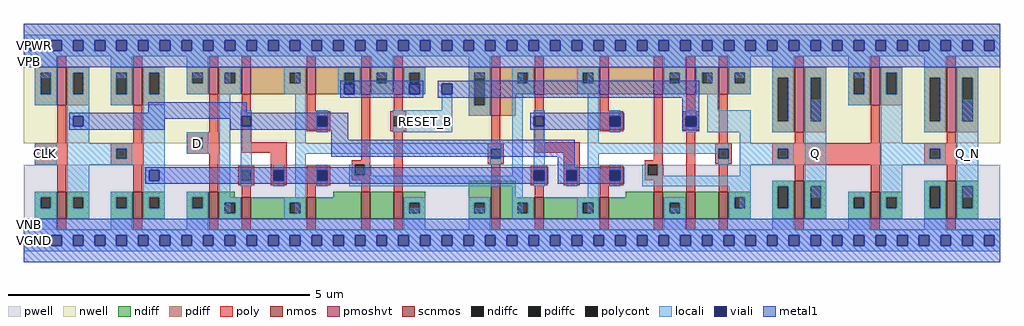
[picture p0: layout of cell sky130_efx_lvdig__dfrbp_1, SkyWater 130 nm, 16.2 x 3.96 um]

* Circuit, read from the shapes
.subckt sky130_efx_lvdig__dfrbp_1 CLK D RESET_B Q Q_N VGND VPWR VPB VNB
XM1 n1 CLK VGND VNB sky130_fd_pr__nfet_01v8 w=0.45 l=0.15
XM2 n2 n1 VGND VNB sky130_fd_pr__nfet_01v8 w=0.45 l=0.15
XM3 n3 D VGND VNB sky130_fd_pr__nfet_01v8 w=0.45 l=0.15
XM4 n4 n1 n3 VNB sky130_fd_pr__nfet_01v8 w=0.36 l=0.15
XM5 n5 n2 n4 VNB sky130_fd_pr__nfet_01v8 w=0.36 l=0.15
XM6 n6 n7 n5 VNB sky130_fd_pr__nfet_01v8 w=0.45 l=0.15
XM7 VGND RESET_B n6 VNB sky130_fd_pr__nfet_01v8 w=0.45 l=0.15
XM8 n7 n4 VGND VNB sky130_fd_pr__nfet_01v8 w=0.63 l=0.15
XM9 n8 n2 n7 VNB sky130_fd_pr__nfet_01v8 w=0.36 l=0.15
XM10 n9 n1 n8 VNB sky130_fd_pr__nfet_01v8 w=0.36 l=0.15
XM11 VGND n10 n9 VNB sky130_fd_pr__nfet_01v8 w=0.45 l=0.15
XM12 n11 RESET_B VGND VNB sky130_fd_pr__nfet_01v8 w=0.45 l=0.15
XM13 n10 n8 n11 VNB sky130_fd_pr__nfet_01v8 w=0.45 l=0.15
XM14 Q n10 VGND VNB sky130_fd_pr__nfet_01v8 w=0.63 l=0.15
XM15 n12 n10 VGND VNB sky130_fd_pr__nfet_01v8 w=0.45 l=0.15
XM16 Q_N n12 VGND VNB sky130_fd_pr__nfet_01v8 w=0.63 l=0.15
XM17 n1 CLK VPWR VPB sky130_fd_pr__pfet_01v8_hvt w=0.63 l=0.15
XM18 n2 n1 VPWR VPB sky130_fd_pr__pfet_01v8_hvt w=0.63 l=0.15
XM19 n3 D VPWR VPB sky130_fd_pr__pfet_01v8_hvt w=0.45 l=0.15
XM20 n4 n2 n3 VPB sky130_fd_pr__pfet_01v8_hvt w=0.45 l=0.15
XM21 n13 n1 n4 VPB sky130_fd_pr__pfet_01v8_hvt w=0.45 l=0.15
XM22 VPWR n7 n13 VPB sky130_fd_pr__pfet_01v8_hvt w=0.45 l=0.15
XM23 n13 RESET_B VPWR VPB sky130_fd_pr__pfet_01v8_hvt w=0.45 l=0.15
XM24 n7 n4 VPWR VPB sky130_fd_pr__pfet_01v8_hvt w=0.81 l=0.15
XM25 n8 n1 n7 VPB sky130_fd_pr__pfet_01v8_hvt w=0.45 l=0.15
XM26 n14 n2 n8 VPB sky130_fd_pr__pfet_01v8_hvt w=0.45 l=0.15
XM27 VPWR n10 n14 VPB sky130_fd_pr__pfet_01v8_hvt w=0.45 l=0.15
XM28 n10 RESET_B VPWR VPB sky130_fd_pr__pfet_01v8_hvt w=0.45 l=0.15
XM29 VPWR n8 n10 VPB sky130_fd_pr__pfet_01v8_hvt w=0.45 l=0.15
XM30 Q n10 VPWR VPB sky130_fd_pr__pfet_01v8_hvt w=1.08 l=0.15
XM31 n12 n10 VPWR VPB sky130_fd_pr__pfet_01v8_hvt w=0.63 l=0.15
XM32 Q_N n12 VPWR VPB sky130_fd_pr__pfet_01v8_hvt w=1.08 l=0.15
.ends

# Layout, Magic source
magic
tech sky130A
magscale 1 2
<< nwell >>
rect 0 288 3240 684
<< pwell >>
rect 0 0 3240 216
<< poly >>
rect 615 324 645 450
rect 540 305 648 324
rect 36 269 144 288
rect 36 235 55 269
rect 89 235 144 269
rect 36 216 144 235
rect 288 269 396 288
rect 288 235 307 269
rect 341 235 396 269
rect 540 271 559 305
rect 593 271 648 305
rect 540 252 648 271
rect 723 291 753 450
rect 939 393 969 450
rect 939 377 1017 393
rect 939 343 973 377
rect 1007 343 1017 377
rect 939 327 1017 343
rect 723 255 873 291
rect 288 216 396 235
rect 615 126 645 252
rect 711 197 765 213
rect 711 163 721 197
rect 755 163 765 197
rect 711 147 765 163
rect 819 197 873 255
rect 1119 231 1149 450
rect 1227 393 1257 450
rect 1215 377 1269 393
rect 1215 343 1225 377
rect 1259 343 1269 377
rect 1215 327 1269 343
rect 1088 215 1149 231
rect 819 163 829 197
rect 863 163 873 197
rect 819 147 873 163
rect 939 197 1017 213
rect 939 163 973 197
rect 1007 163 1017 197
rect 1088 181 1098 215
rect 1132 181 1149 215
rect 1088 165 1149 181
rect 939 147 1017 163
rect 723 108 753 147
rect 939 108 969 147
rect 1119 126 1149 165
rect 1227 126 1257 327
rect 1551 285 1581 378
rect 1695 291 1725 450
rect 1911 393 1941 450
rect 1911 377 1989 393
rect 1911 343 1945 377
rect 1979 343 1989 377
rect 1911 327 1989 343
rect 1539 269 1593 285
rect 1539 235 1549 269
rect 1583 235 1593 269
rect 1695 255 1845 291
rect 1539 219 1593 235
rect 1551 162 1581 219
rect 1683 197 1737 213
rect 1683 163 1693 197
rect 1727 163 1737 197
rect 1683 147 1737 163
rect 1791 197 1845 255
rect 2091 231 2121 450
rect 2199 393 2229 450
rect 2187 377 2241 393
rect 2187 343 2197 377
rect 2231 343 2241 377
rect 2187 327 2241 343
rect 2060 215 2121 231
rect 1791 163 1801 197
rect 1835 163 1845 197
rect 1791 147 1845 163
rect 1911 197 1989 213
rect 1911 163 1945 197
rect 1979 163 1989 197
rect 2060 181 2070 215
rect 2104 181 2121 215
rect 2060 165 2121 181
rect 1911 147 1989 163
rect 1695 108 1725 147
rect 1911 108 1941 147
rect 2091 126 2121 165
rect 2199 126 2229 327
rect 2307 285 2337 450
rect 2295 269 2349 285
rect 2295 235 2305 269
rect 2339 235 2349 269
rect 2295 219 2349 235
rect 2484 269 2844 288
rect 2484 235 2503 269
rect 2537 235 2844 269
rect 2307 126 2337 219
rect 2484 216 2844 235
rect 2988 269 3096 288
rect 2988 235 3007 269
rect 3041 235 3096 269
rect 2988 216 3096 235
<< polycont >>
rect 55 235 89 269
rect 307 235 341 269
rect 559 271 593 305
rect 973 343 1007 377
rect 721 163 755 197
rect 1225 343 1259 377
rect 829 163 863 197
rect 973 163 1007 197
rect 1098 181 1132 215
rect 1945 343 1979 377
rect 1549 235 1583 269
rect 1693 163 1727 197
rect 2197 343 2231 377
rect 1801 163 1835 197
rect 1945 163 1979 197
rect 2070 181 2104 215
rect 2305 235 2339 269
rect 2503 235 2537 269
rect 3007 235 3041 269
<< locali >>
rect 0 629 3240 648
rect 0 595 19 629
rect 53 595 91 629
rect 125 595 163 629
rect 197 595 235 629
rect 269 595 307 629
rect 341 595 379 629
rect 413 595 451 629
rect 485 595 523 629
rect 557 595 595 629
rect 629 595 667 629
rect 701 595 739 629
rect 773 595 811 629
rect 845 595 883 629
rect 917 595 955 629
rect 989 595 1027 629
rect 1061 595 1099 629
rect 1133 595 1171 629
rect 1205 595 1243 629
rect 1277 595 1315 629
rect 1349 595 1387 629
rect 1421 595 1459 629
rect 1493 595 1531 629
rect 1565 595 1603 629
rect 1637 595 1675 629
rect 1709 595 1747 629
rect 1781 595 1819 629
rect 1853 595 1891 629
rect 1925 595 1963 629
rect 1997 595 2035 629
rect 2069 595 2107 629
rect 2141 595 2179 629
rect 2213 595 2251 629
rect 2285 595 2323 629
rect 2357 595 2395 629
rect 2429 595 2467 629
rect 2501 595 2539 629
rect 2573 595 2611 629
rect 2645 595 2683 629
rect 2717 595 2755 629
rect 2789 595 2827 629
rect 2861 595 2899 629
rect 2933 595 2971 629
rect 3005 595 3043 629
rect 3077 595 3115 629
rect 3149 595 3187 629
rect 3221 595 3240 629
rect 0 576 3240 595
rect 36 504 108 576
rect 288 504 360 576
rect 540 504 612 576
rect 144 377 216 432
rect 144 343 163 377
rect 197 343 216 377
rect 144 288 216 343
rect 36 269 108 288
rect 36 235 55 269
rect 89 235 108 269
rect 36 216 108 235
rect 144 269 360 288
rect 144 235 307 269
rect 341 235 360 269
rect 144 216 360 235
rect 144 108 216 216
rect 396 197 468 432
rect 540 305 612 324
rect 540 271 559 305
rect 593 271 612 305
rect 540 252 612 271
rect 396 163 415 197
rect 449 163 468 197
rect 396 108 468 163
rect 36 0 108 72
rect 288 0 360 72
rect 540 0 612 72
rect 648 36 684 540
rect 720 377 756 396
rect 720 343 721 377
rect 755 343 756 377
rect 720 197 756 343
rect 900 288 936 540
rect 1152 504 1224 576
rect 1476 504 1548 576
rect 1386 450 1387 484
rect 1421 450 1422 484
rect 1386 396 1422 450
rect 972 377 1008 396
rect 972 343 973 377
rect 1007 343 1008 377
rect 972 324 1008 343
rect 1224 377 1422 396
rect 1224 343 1225 377
rect 1259 343 1422 377
rect 1224 324 1422 343
rect 900 269 1584 288
rect 900 252 1549 269
rect 720 163 721 197
rect 755 163 756 197
rect 720 144 756 163
rect 828 197 864 216
rect 828 163 829 197
rect 863 163 864 197
rect 828 144 864 163
rect 900 36 936 252
rect 1548 235 1549 252
rect 1583 235 1584 269
rect 1548 216 1584 235
rect 972 197 1008 216
rect 972 163 973 197
rect 1007 163 1008 197
rect 972 144 1008 163
rect 1080 215 1152 216
rect 1080 181 1098 215
rect 1132 181 1152 215
rect 1080 180 1152 181
rect 1620 180 1656 540
rect 1080 144 1656 180
rect 1692 377 1728 396
rect 1692 343 1693 377
rect 1727 343 1728 377
rect 1692 197 1728 343
rect 1872 288 1908 540
rect 2124 504 2196 576
rect 2268 396 2304 540
rect 2340 504 2412 576
rect 2484 504 2556 576
rect 2736 504 2808 576
rect 2988 504 3060 576
rect 1944 377 1980 396
rect 1944 343 1945 377
rect 1979 343 1980 377
rect 1944 324 1980 343
rect 2196 377 2232 396
rect 2196 343 2197 377
rect 2231 343 2232 377
rect 2196 324 2232 343
rect 2268 324 2412 396
rect 2376 288 2412 324
rect 1872 269 2340 288
rect 1872 252 2305 269
rect 1692 163 1693 197
rect 1727 163 1728 197
rect 1692 144 1728 163
rect 1800 197 1836 216
rect 1800 163 1801 197
rect 1835 163 1836 197
rect 1800 144 1836 163
rect 1260 0 1332 72
rect 1476 0 1548 72
rect 1620 36 1656 144
rect 1872 36 1908 252
rect 2304 235 2305 252
rect 2339 235 2340 269
rect 2304 216 2340 235
rect 2376 269 2556 288
rect 2376 235 2503 269
rect 2537 235 2556 269
rect 2376 216 2556 235
rect 1944 197 1980 216
rect 1944 163 1945 197
rect 1979 163 1980 197
rect 1944 144 1980 163
rect 2052 215 2124 216
rect 2052 181 2070 215
rect 2104 181 2124 215
rect 2052 180 2124 181
rect 2376 180 2412 216
rect 2052 144 2412 180
rect 2340 108 2412 144
rect 2592 108 2664 432
rect 2844 288 2916 432
rect 2844 269 3060 288
rect 2844 235 3007 269
rect 3041 235 3060 269
rect 2844 216 3060 235
rect 2844 108 2916 216
rect 3096 108 3168 432
rect 2124 0 2196 72
rect 2376 36 2412 108
rect 2484 0 2556 72
rect 2736 0 2808 72
rect 2988 0 3060 72
rect 0 -19 3240 0
rect 0 -53 19 -19
rect 53 -53 91 -19
rect 125 -53 163 -19
rect 197 -53 235 -19
rect 269 -53 307 -19
rect 341 -53 379 -19
rect 413 -53 451 -19
rect 485 -53 523 -19
rect 557 -53 595 -19
rect 629 -53 667 -19
rect 701 -53 739 -19
rect 773 -53 811 -19
rect 845 -53 883 -19
rect 917 -53 955 -19
rect 989 -53 1027 -19
rect 1061 -53 1099 -19
rect 1133 -53 1171 -19
rect 1205 -53 1243 -19
rect 1277 -53 1315 -19
rect 1349 -53 1387 -19
rect 1421 -53 1459 -19
rect 1493 -53 1531 -19
rect 1565 -53 1603 -19
rect 1637 -53 1675 -19
rect 1709 -53 1747 -19
rect 1781 -53 1819 -19
rect 1853 -53 1891 -19
rect 1925 -53 1963 -19
rect 1997 -53 2035 -19
rect 2069 -53 2107 -19
rect 2141 -53 2179 -19
rect 2213 -53 2251 -19
rect 2285 -53 2323 -19
rect 2357 -53 2395 -19
rect 2429 -53 2467 -19
rect 2501 -53 2539 -19
rect 2573 -53 2611 -19
rect 2645 -53 2683 -19
rect 2717 -53 2755 -19
rect 2789 -53 2827 -19
rect 2861 -53 2899 -19
rect 2933 -53 2971 -19
rect 3005 -53 3043 -19
rect 3077 -53 3115 -19
rect 3149 -53 3187 -19
rect 3221 -53 3240 -19
rect 0 -72 3240 -53
<< viali >>
rect 19 595 53 629
rect 91 595 125 629
rect 163 595 197 629
rect 235 595 269 629
rect 307 595 341 629
rect 379 595 413 629
rect 451 595 485 629
rect 523 595 557 629
rect 595 595 629 629
rect 667 595 701 629
rect 739 595 773 629
rect 811 595 845 629
rect 883 595 917 629
rect 955 595 989 629
rect 1027 595 1061 629
rect 1099 595 1133 629
rect 1171 595 1205 629
rect 1243 595 1277 629
rect 1315 595 1349 629
rect 1387 595 1421 629
rect 1459 595 1493 629
rect 1531 595 1565 629
rect 1603 595 1637 629
rect 1675 595 1709 629
rect 1747 595 1781 629
rect 1819 595 1853 629
rect 1891 595 1925 629
rect 1963 595 1997 629
rect 2035 595 2069 629
rect 2107 595 2141 629
rect 2179 595 2213 629
rect 2251 595 2285 629
rect 2323 595 2357 629
rect 2395 595 2429 629
rect 2467 595 2501 629
rect 2539 595 2573 629
rect 2611 595 2645 629
rect 2683 595 2717 629
rect 2755 595 2789 629
rect 2827 595 2861 629
rect 2899 595 2933 629
rect 2971 595 3005 629
rect 3043 595 3077 629
rect 3115 595 3149 629
rect 3187 595 3221 629
rect 163 343 197 377
rect 415 163 449 197
rect 721 343 755 377
rect 1063 450 1097 484
rect 1279 450 1313 484
rect 1387 450 1421 484
rect 973 343 1007 377
rect 829 163 863 197
rect 973 163 1007 197
rect 1693 343 1727 377
rect 1945 343 1979 377
rect 2197 343 2231 377
rect 1693 163 1727 197
rect 1801 163 1835 197
rect 1945 163 1979 197
rect 19 -53 53 -19
rect 91 -53 125 -19
rect 163 -53 197 -19
rect 235 -53 269 -19
rect 307 -53 341 -19
rect 379 -53 413 -19
rect 451 -53 485 -19
rect 523 -53 557 -19
rect 595 -53 629 -19
rect 667 -53 701 -19
rect 739 -53 773 -19
rect 811 -53 845 -19
rect 883 -53 917 -19
rect 955 -53 989 -19
rect 1027 -53 1061 -19
rect 1099 -53 1133 -19
rect 1171 -53 1205 -19
rect 1243 -53 1277 -19
rect 1315 -53 1349 -19
rect 1387 -53 1421 -19
rect 1459 -53 1493 -19
rect 1531 -53 1565 -19
rect 1603 -53 1637 -19
rect 1675 -53 1709 -19
rect 1747 -53 1781 -19
rect 1819 -53 1853 -19
rect 1891 -53 1925 -19
rect 1963 -53 1997 -19
rect 2035 -53 2069 -19
rect 2107 -53 2141 -19
rect 2179 -53 2213 -19
rect 2251 -53 2285 -19
rect 2323 -53 2357 -19
rect 2395 -53 2429 -19
rect 2467 -53 2501 -19
rect 2539 -53 2573 -19
rect 2611 -53 2645 -19
rect 2683 -53 2717 -19
rect 2755 -53 2789 -19
rect 2827 -53 2861 -19
rect 2899 -53 2933 -19
rect 2971 -53 3005 -19
rect 3043 -53 3077 -19
rect 3115 -53 3149 -19
rect 3187 -53 3221 -19
<< metal1 >>
rect 0 629 3240 684
rect 0 595 19 629
rect 53 595 91 629
rect 125 595 163 629
rect 197 595 235 629
rect 269 595 307 629
rect 341 595 379 629
rect 413 595 451 629
rect 485 595 523 629
rect 557 595 595 629
rect 629 595 667 629
rect 701 595 739 629
rect 773 595 811 629
rect 845 595 883 629
rect 917 595 955 629
rect 989 595 1027 629
rect 1061 595 1099 629
rect 1133 595 1171 629
rect 1205 595 1243 629
rect 1277 595 1315 629
rect 1349 595 1387 629
rect 1421 595 1459 629
rect 1493 595 1531 629
rect 1565 595 1603 629
rect 1637 595 1675 629
rect 1709 595 1747 629
rect 1781 595 1819 629
rect 1853 595 1891 629
rect 1925 595 1963 629
rect 1997 595 2035 629
rect 2069 595 2107 629
rect 2141 595 2179 629
rect 2213 595 2251 629
rect 2285 595 2323 629
rect 2357 595 2395 629
rect 2429 595 2467 629
rect 2501 595 2539 629
rect 2573 595 2611 629
rect 2645 595 2683 629
rect 2717 595 2755 629
rect 2789 595 2827 629
rect 2861 595 2899 629
rect 2933 595 2971 629
rect 3005 595 3043 629
rect 3077 595 3115 629
rect 3149 595 3187 629
rect 3221 595 3240 629
rect 0 540 3240 595
rect 1050 484 1326 495
rect 1050 450 1063 484
rect 1097 450 1279 484
rect 1313 450 1326 484
rect 1050 439 1326 450
rect 1374 484 2242 495
rect 1374 450 1387 484
rect 1421 450 2242 484
rect 1374 439 2242 450
rect 412 388 740 424
rect 150 377 1076 388
rect 150 343 163 377
rect 197 368 721 377
rect 197 343 468 368
rect 150 332 468 343
rect 684 343 721 368
rect 755 343 973 377
rect 1007 343 1076 377
rect 684 332 1076 343
rect 1680 377 1992 388
rect 1680 343 1693 377
rect 1727 343 1945 377
rect 1979 343 1992 377
rect 1680 332 1992 343
rect 2186 377 2242 439
rect 2186 343 2197 377
rect 2231 343 2242 377
rect 1020 298 1076 332
rect 2186 330 2242 343
rect 1020 242 1828 298
rect 1772 208 1828 242
rect 402 197 1740 208
rect 402 163 415 197
rect 449 163 829 197
rect 863 163 973 197
rect 1007 163 1693 197
rect 1727 163 1740 197
rect 402 152 1740 163
rect 1772 197 1992 208
rect 1772 163 1801 197
rect 1835 163 1945 197
rect 1979 163 1992 197
rect 1772 152 1992 163
rect 0 -19 3240 36
rect 0 -53 19 -19
rect 53 -53 91 -19
rect 125 -53 163 -19
rect 197 -53 235 -19
rect 269 -53 307 -19
rect 341 -53 379 -19
rect 413 -53 451 -19
rect 485 -53 523 -19
rect 557 -53 595 -19
rect 629 -53 667 -19
rect 701 -53 739 -19
rect 773 -53 811 -19
rect 845 -53 883 -19
rect 917 -53 955 -19
rect 989 -53 1027 -19
rect 1061 -53 1099 -19
rect 1133 -53 1171 -19
rect 1205 -53 1243 -19
rect 1277 -53 1315 -19
rect 1349 -53 1387 -19
rect 1421 -53 1459 -19
rect 1493 -53 1531 -19
rect 1565 -53 1603 -19
rect 1637 -53 1675 -19
rect 1709 -53 1747 -19
rect 1781 -53 1819 -19
rect 1853 -53 1891 -19
rect 1925 -53 1963 -19
rect 1997 -53 2035 -19
rect 2069 -53 2107 -19
rect 2141 -53 2179 -19
rect 2213 -53 2251 -19
rect 2285 -53 2323 -19
rect 2357 -53 2395 -19
rect 2429 -53 2467 -19
rect 2501 -53 2539 -19
rect 2573 -53 2611 -19
rect 2645 -53 2683 -19
rect 2717 -53 2755 -19
rect 2789 -53 2827 -19
rect 2861 -53 2899 -19
rect 2933 -53 2971 -19
rect 3005 -53 3043 -19
rect 3077 -53 3115 -19
rect 3149 -53 3187 -19
rect 3221 -53 3240 -19
rect 0 -108 3240 -53
use nmos_isl_dfrtp_m  nmos_isl_dfrtp_m_0
transform 1 0 0 0 1 0
box 504 0 1368 216
use pmos_isl_dfrtp_m  pmos_isl_dfrtp_m_0
transform 1 0 0 0 1 0
box 504 288 1368 684
use nmos_isl_dfrtp_s  nmos_isl_dfrtp_s_0
transform 1 0 0 0 1 0
box 1440 0 2448 216
use pmos_isl_dfrtp_s  pmos_isl_dfrtp_s_0
transform 1 0 0 0 1 0
box 1440 288 2448 684
use nmos_n2f5_f1_l150_ff  nmos_n2f5_f1_l150_ff_0
transform 1 0 72 0 1 36
box -72 -36 180 180
use nmos_n2f5_f1_l150_ff  nmos_n2f5_f1_l150_ff_1
transform 1 0 324 0 1 36
box -72 -36 180 180
use nmos_n2f5_f1_l150_ff  nmos_n2f5_f1_l150_ff_2
transform 1 0 2772 0 1 36
box -72 -36 180 180
use nmos_n3f5_f1_l150  nmos_n3f5_f1_l150_0
transform 1 0 2520 0 1 36
box -72 -36 180 180
use nmos_n3f5_f1_l150  nmos_n3f5_f1_l150_1
transform 1 0 3024 0 1 36
box -72 -36 180 180
use pmos_n3f5_f1_l150_hvt_ff  pmos_n3f5_f1_l150_hvt_ff_0
transform 1 0 72 0 1 414
box -72 -126 180 162
use pmos_n3f5_f1_l150_hvt_ff  pmos_n3f5_f1_l150_hvt_ff_1
transform 1 0 324 0 1 414
box -72 -126 180 162
use pmos_n3f5_f1_l150_hvt_ff  pmos_n3f5_f1_l150_hvt_ff_2
transform 1 0 2772 0 1 414
box -72 -126 180 162
use pmos_n6_f1_l150_hvt  pmos_n6_f1_l150_hvt_0
transform 1 0 2520 0 1 324
box -72 -36 180 252
use pmos_n6_f1_l150_hvt  pmos_n6_f1_l150_hvt_1
transform 1 0 3024 0 1 324
box -72 -36 180 252
<< labels >>
flabel locali 36 216 108 288 0 FreeSans 288 0 0 0 CLK
port 1 nsew signal input
flabel locali 540 252 612 324 0 FreeSans 288 0 0 0 D
port 2 nsew signal input
flabel locali 1296 324 1368 396 0 FreeSans 288 0 0 0 RESET_B
port 3 nsew signal input
flabel locali 2592 216 2664 288 0 FreeSans 288 0 0 0 Q
port 4 nsew signal output
flabel locali 3096 216 3168 288 0 FreeSans 288 0 0 0 Q_N
port 5 nsew signal output
flabel metal1 0 -72 72 0 0 FreeSans 288 0 0 0 VGND
port 6 nsew ground bidirectional
flabel metal1 0 576 72 648 0 FreeSans 288 0 0 0 VPWR
port 7 nsew power bidirectional
flabel nwell 0 540 36 576 0 FreeSans 288 0 0 0 VPB
port 8 nsew power bidirectional
flabel pwell 0 0 36 36 0 FreeSans 288 0 0 0 VNB
port 9 nsew ground bidirectional
<< properties >>
string FIXED_BBOX 0 -36 3240 612
<< end >>

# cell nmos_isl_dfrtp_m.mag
magic
tech sky130A
magscale 1 2
<< pwell >>
rect 504 0 1368 216
<< nmos >>
rect 615 36 645 126
rect 1119 36 1149 126
rect 1227 36 1257 126
<< scnmos >>
rect 723 36 753 108
rect 939 36 969 108
<< ndiff >>
rect 540 108 615 126
rect 540 72 559 108
rect 593 72 615 108
rect 540 36 615 72
rect 645 108 700 126
rect 1026 108 1119 126
rect 645 89 723 108
rect 645 55 667 89
rect 701 55 723 89
rect 645 36 723 55
rect 753 89 939 108
rect 753 55 883 89
rect 917 55 939 89
rect 753 36 939 55
rect 969 36 1119 108
rect 1149 36 1227 126
rect 1257 89 1332 126
rect 1257 55 1279 89
rect 1313 55 1332 89
rect 1257 36 1332 55
<< ndiffc >>
rect 559 72 593 108
rect 667 55 701 89
rect 883 55 917 89
rect 1279 55 1313 89
<< poly >>
rect 615 126 645 162
rect 723 108 753 144
rect 939 108 969 144
rect 1119 126 1149 162
rect 1227 126 1257 162
rect 615 0 645 36
rect 723 0 753 36
rect 939 0 969 36
rect 1119 0 1149 36
rect 1227 0 1257 36
<< locali >>
rect 540 108 612 126
rect 540 72 559 108
rect 593 72 612 108
rect 540 36 612 72
rect 648 89 720 108
rect 648 55 667 89
rect 701 55 720 89
rect 648 36 720 55
rect 864 89 936 108
rect 864 55 883 89
rect 917 55 936 89
rect 864 36 936 55
rect 1260 89 1332 108
rect 1260 55 1279 89
rect 1313 55 1332 89
rect 1260 36 1332 55
<< end >>

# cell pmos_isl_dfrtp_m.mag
magic
tech sky130A
magscale 1 2
<< nwell >>
rect 504 288 1368 684
<< pmoshvt >>
rect 615 450 645 540
rect 723 450 753 540
rect 939 450 969 540
rect 1119 450 1149 540
rect 1227 450 1257 540
<< pdiff >>
rect 540 522 615 540
rect 540 486 559 522
rect 593 486 615 522
rect 540 450 615 486
rect 645 522 723 540
rect 645 486 667 522
rect 701 486 723 522
rect 645 450 723 486
rect 753 522 939 540
rect 753 486 883 522
rect 917 486 939 522
rect 753 450 939 486
rect 969 522 1119 540
rect 969 486 1063 522
rect 1097 486 1119 522
rect 969 450 1119 486
rect 1149 522 1227 540
rect 1149 486 1171 522
rect 1205 486 1227 522
rect 1149 450 1227 486
rect 1257 522 1332 540
rect 1257 486 1279 522
rect 1313 486 1332 522
rect 1257 450 1332 486
<< pdiffc >>
rect 559 486 593 522
rect 667 486 701 522
rect 883 486 917 522
rect 1063 486 1097 522
rect 1171 486 1205 522
rect 1279 486 1313 522
<< poly >>
rect 615 540 645 576
rect 723 540 753 576
rect 939 540 969 576
rect 1119 540 1149 576
rect 1227 540 1257 576
rect 615 414 645 450
rect 723 414 753 450
rect 939 414 969 450
rect 1119 414 1149 450
rect 1227 414 1257 450
<< locali >>
rect 540 522 612 540
rect 540 486 559 522
rect 593 486 612 522
rect 540 450 612 486
rect 648 522 720 540
rect 648 486 667 522
rect 701 486 720 522
rect 648 450 720 486
rect 864 522 936 540
rect 864 486 883 522
rect 917 486 936 522
rect 864 450 936 486
rect 1044 522 1116 540
rect 1044 486 1063 522
rect 1097 486 1116 522
rect 1044 450 1116 486
rect 1152 522 1224 540
rect 1152 486 1171 522
rect 1205 486 1224 522
rect 1152 450 1224 486
rect 1260 522 1332 540
rect 1260 486 1279 522
rect 1313 486 1332 522
rect 1260 450 1332 486
<< end >>

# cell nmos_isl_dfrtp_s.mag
magic
tech sky130A
magscale 1 2
<< pwell >>
rect 1440 0 2448 216
<< nmos >>
rect 1551 36 1581 162
rect 2091 36 2121 126
rect 2199 36 2229 126
rect 2307 36 2337 126
<< scnmos >>
rect 1695 36 1725 108
rect 1911 36 1941 108
<< ndiff >>
rect 1476 89 1551 162
rect 1476 55 1495 89
rect 1529 55 1551 89
rect 1476 36 1551 55
rect 1581 108 1632 162
rect 1998 108 2091 126
rect 1581 89 1695 108
rect 1581 55 1639 89
rect 1673 55 1695 89
rect 1581 36 1695 55
rect 1725 89 1911 108
rect 1725 55 1855 89
rect 1889 55 1911 89
rect 1725 36 1911 55
rect 1941 36 2091 108
rect 2121 89 2199 126
rect 2121 55 2143 89
rect 2177 55 2199 89
rect 2121 36 2199 55
rect 2229 36 2307 126
rect 2337 108 2412 126
rect 2337 72 2359 108
rect 2393 72 2412 108
rect 2337 36 2412 72
<< ndiffc >>
rect 1495 55 1529 89
rect 1639 55 1673 89
rect 1855 55 1889 89
rect 2143 55 2177 89
rect 2359 72 2393 108
<< poly >>
rect 1551 162 1581 198
rect 1695 108 1725 144
rect 1911 108 1941 144
rect 2091 126 2121 162
rect 2199 126 2229 162
rect 2307 126 2337 162
rect 1551 0 1581 36
rect 1695 0 1725 36
rect 1911 0 1941 36
rect 2091 0 2121 36
rect 2199 0 2229 36
rect 2307 0 2337 36
<< locali >>
rect 2340 108 2412 126
rect 1476 89 1548 108
rect 1476 55 1495 89
rect 1529 55 1548 89
rect 1476 36 1548 55
rect 1620 89 1692 108
rect 1620 55 1639 89
rect 1673 55 1692 89
rect 1620 36 1692 55
rect 1836 89 1908 108
rect 1836 55 1855 89
rect 1889 55 1908 89
rect 1836 36 1908 55
rect 2124 89 2196 108
rect 2124 55 2143 89
rect 2177 55 2196 89
rect 2124 36 2196 55
rect 2340 72 2359 108
rect 2393 72 2412 108
rect 2340 36 2412 72
<< end >>

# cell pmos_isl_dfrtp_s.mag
magic
tech sky130A
magscale 1 2
<< nwell >>
rect 1440 288 2448 684
<< pmoshvt >>
rect 1551 378 1581 540
rect 1695 450 1725 540
rect 1911 450 1941 540
rect 2091 450 2121 540
rect 2199 450 2229 540
rect 2307 450 2337 540
<< pdiff >>
rect 1476 522 1551 540
rect 1476 414 1495 522
rect 1529 414 1551 522
rect 1476 378 1551 414
rect 1581 522 1695 540
rect 1581 486 1639 522
rect 1673 486 1695 522
rect 1581 450 1695 486
rect 1725 522 1911 540
rect 1725 486 1855 522
rect 1889 486 1911 522
rect 1725 450 1911 486
rect 1941 450 2091 540
rect 2121 522 2199 540
rect 2121 486 2143 522
rect 2177 486 2199 522
rect 2121 450 2199 486
rect 2229 522 2307 540
rect 2229 486 2251 522
rect 2285 486 2307 522
rect 2229 450 2307 486
rect 2337 522 2412 540
rect 2337 486 2359 522
rect 2393 486 2412 522
rect 2337 450 2412 486
rect 1581 378 1632 450
<< pdiffc >>
rect 1495 414 1529 522
rect 1639 486 1673 522
rect 1855 486 1889 522
rect 2143 486 2177 522
rect 2251 486 2285 522
rect 2359 486 2393 522
<< poly >>
rect 1551 540 1581 576
rect 1695 540 1725 576
rect 1911 540 1941 576
rect 2091 540 2121 576
rect 2199 540 2229 576
rect 2307 540 2337 576
rect 1695 414 1725 450
rect 1911 414 1941 450
rect 2091 414 2121 450
rect 2199 414 2229 450
rect 2307 414 2337 450
rect 1551 342 1581 378
<< locali >>
rect 1476 522 1548 540
rect 1476 414 1495 522
rect 1529 414 1548 522
rect 1620 522 1692 540
rect 1620 486 1639 522
rect 1673 486 1692 522
rect 1620 450 1692 486
rect 1836 522 1908 540
rect 1836 486 1855 522
rect 1889 486 1908 522
rect 1836 450 1908 486
rect 2124 522 2196 540
rect 2124 486 2143 522
rect 2177 486 2196 522
rect 2124 450 2196 486
rect 2232 522 2304 540
rect 2232 486 2251 522
rect 2285 486 2304 522
rect 2232 450 2304 486
rect 2340 522 2412 540
rect 2340 486 2359 522
rect 2393 486 2412 522
rect 2340 450 2412 486
rect 1476 378 1548 414
<< end >>

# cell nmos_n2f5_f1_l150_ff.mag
magic
tech sky130A
magscale 1 2
<< pwell >>
rect -72 -36 180 180
<< nmos >>
rect 39 0 69 90
<< ndiff >>
rect -36 72 39 90
rect -36 36 -17 72
rect 17 36 39 72
rect -36 0 39 36
rect 69 72 144 90
rect 69 36 91 72
rect 125 36 144 72
rect 69 0 144 36
<< ndiffc >>
rect -17 36 17 72
rect 91 36 125 72
<< poly >>
rect 39 90 69 180
rect 39 -36 69 0
<< locali >>
rect -36 72 36 90
rect -36 36 -17 72
rect 17 36 36 72
rect -36 0 36 36
rect 72 72 144 90
rect 72 36 91 72
rect 125 36 144 72
rect 72 0 144 36
<< end >>

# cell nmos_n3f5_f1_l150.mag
magic
tech sky130A
magscale 1 2
<< pwell >>
rect -72 -36 180 180
<< nmos >>
rect 39 0 69 126
<< ndiff >>
rect -36 108 39 126
rect -36 36 -17 108
rect 17 36 39 108
rect -36 0 39 36
rect 69 108 144 126
rect 69 36 91 108
rect 125 36 144 108
rect 69 0 144 36
<< ndiffc >>
rect -17 36 17 108
rect 91 36 125 108
<< poly >>
rect 39 126 69 180
rect 39 -36 69 0
<< locali >>
rect -36 108 36 126
rect -36 36 -17 108
rect 17 36 36 108
rect -36 0 36 36
rect 72 108 144 126
rect 72 36 91 108
rect 125 36 144 108
rect 72 0 144 36
<< labels >>
rlabel locali 0 18 0 18 0 S0
port 1 nsew
rlabel locali 108 18 108 18 0 D0
port 2 nsew
<< end >>

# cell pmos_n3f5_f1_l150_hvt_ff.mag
magic
tech sky130A
magscale 1 2
<< nwell >>
rect -72 -126 180 162
<< pmoshvt >>
rect 39 0 69 126
<< pdiff >>
rect -36 108 39 126
rect -36 36 -17 108
rect 17 36 39 108
rect -36 0 39 36
rect 69 108 144 126
rect 69 36 91 108
rect 125 36 144 108
rect 69 0 144 36
<< pdiffc >>
rect -17 36 17 108
rect 91 36 125 108
<< poly >>
rect 39 126 69 162
rect 39 -126 69 0
<< locali >>
rect -36 108 36 126
rect -36 36 -17 108
rect 17 36 36 108
rect -36 0 36 36
rect 72 108 144 126
rect 72 36 91 108
rect 125 36 144 108
rect 72 0 144 36
<< end >>

# cell pmos_n6_f1_l150_hvt: kit device pmos, n 6 fingers 1 length 0.15 butted 0 ltap 0 rtap 0 vt hvt tgate 0 bgate 0
